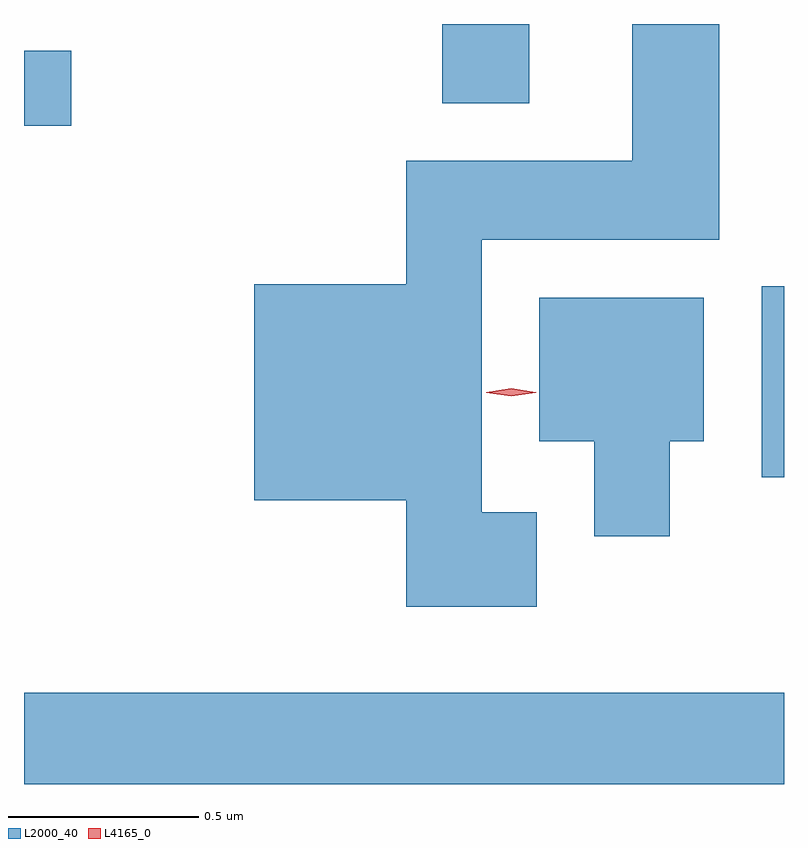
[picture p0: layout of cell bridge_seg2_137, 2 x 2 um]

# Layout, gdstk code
import gdstk
lib = gdstk.Library(unit=1e-6, precision=1e-09)
def R(c, l, rs):  # rectangles x0, y0, x1, y1
    for r in rs: c.add(gdstk.rectangle(r[:2], r[2:], *l))
def P(c, l, *ps):  # polygons
    for p in ps: c.add(gdstk.Polygon(p, *l))
L2000_40 = (2000, 40)
L4165_0 = (4165, 0)

bridge_seg2_137 = lib.new_cell('bridge_seg2_137')
R(bridge_seg2_137, L2000_40, [(977.6,1072.764,979.6,1073.004), (979.541,1073.571,979.6,1074.074), (977.6,1074.496,977.724,1074.694), (978.701,1074.556,978.929,1074.764)])
P(bridge_seg2_137, L2000_40, [(978.949,1073.479),(978.804,1073.479),(978.804,1074.196),(979.429,1074.196),(979.429,1074.764),(979.201,1074.764),(979.201,1074.404),(978.606,1074.404),(978.606,1074.079),(978.206,1074.079),(978.206,1073.511),(978.606,1073.511),(978.606,1073.231),(978.949,1073.231)],
  [(979.299,1073.666),(979.389,1073.666),(979.389,1074.044),(978.956,1074.044),(978.956,1073.666),(979.101,1073.666),(979.101,1073.416),(979.299,1073.416)])
P(bridge_seg2_137, L4165_0, [(978.882,1073.785),(978.816,1073.794),(978.816,1073.795),(978.816,1073.795),(978.882,1073.805),(978.947,1073.795),(978.948,1073.795),(978.947,1073.794)])

lib.write_gds('bridge_seg2_137.gds')
